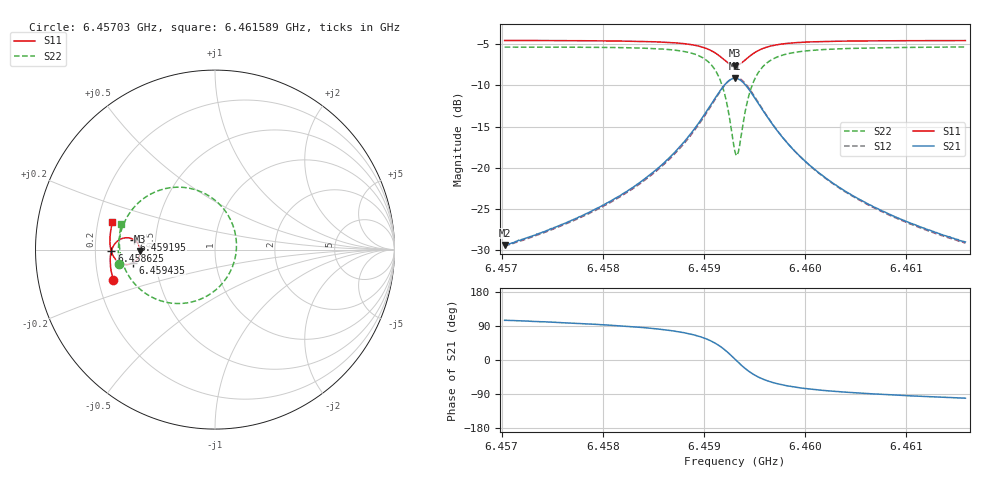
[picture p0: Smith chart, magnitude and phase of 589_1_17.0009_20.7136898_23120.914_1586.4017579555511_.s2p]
#  HZ  S  RI  R  50.00
! Rohde & Schwarz Vector Network Analyzer
! Rohde-Schwarz,ZNB20-2Port,1311601062101988,3.16
! Created: UTC 3/20/2024, 11:18:26 PM
! freq[Hz]  re:S11  im:S11  re:S21  im:S21  re:S12  im:S12  re:S22  im:S22
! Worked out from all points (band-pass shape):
!   401 points, 6.45703 GHz to 6.461589 GHz, reference 50 ohm
!   highest |S21| = -9.14 dB at 6.459309 GHz (marker M1); lowest = -29.4 dB at 6.45703 GHz (marker M2)
!   |S21| within 3 dB of the highest: 6.459082 GHz to 6.459538 GHz (456.1 kHz wide, 0.00706 % of centre)
!   lowest |S11| = -7.6 dB at 6.459309 GHz (marker M3), VSWR 2.43, Z = 20.6 - j0.415 ohm
!   |S11| at or under -10 dB: nowhere
!   |S22| runs from -18.5 to -5.3 dB; largest |S21 - S12| = 0.014
!   S11 on the Smith chart (normalised r, x): 6.45703 GHz: 0.26, -0.14; 6.458625 GHz: 0.27, -0.01; 6.459195 GHz: 0.37, +0.05; 6.459435 GHz: 0.37, -0.07; 6.461589 GHz: 0.26, +0.12
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6.4570296e9  -0.5679 -0.1682  -0.00865 0.0329  -0.00695 0.0328  -0.5338 -0.08
6.4577933e9  -0.5813 -0.1011  -0.00534 0.0509  -0.00274 0.0503  -0.5384 0.0101
6.4582264e9  -0.5839 -0.0574  0.00108 0.0713  0.00436 0.0698  -0.5293 0.0798
6.458557e9  -0.5798 -0.0176  0.0149 0.0997  0.0188 0.0968  -0.5035 0.1557
6.4586254e9  -0.5776 -0.00815  0.0203 0.1082  0.0244 0.1047  -0.4932 0.1757
6.4588192e9  -0.5646 0.0224  0.0473 0.1392  0.0514 0.1341  -0.4426 0.245
6.4589673e9  -0.5417 0.0486  0.0931 0.1699  0.0963 0.1629  -0.3579 0.3095
6.4591041e9  -0.4975 0.066  0.181 0.1859  0.182 0.1786  -0.1968 0.3477
6.4591953e9  -0.4525 0.0553  0.2718 0.1544  0.272 0.1484  -0.0289 0.2962
6.4592637e9  -0.4233 0.023  0.3326 0.0815  0.3347 0.0762  0.0875 0.1647
6.4593093e9  -0.4163 -0.00832  0.3489 0.0129  0.3527 0.00578  0.1196 0.036
6.4593435e9  -0.4204 -0.0323  0.343 -0.0401  0.3469 -0.0494  0.1076 -0.0648
6.4593891e9  -0.4363 -0.0586  0.3139 -0.1005  0.3162 -0.1127  0.0488 -0.1791
6.4594347e9  -0.4585 -0.0751  0.2711 -0.142  0.2703 -0.1554  -0.0378 -0.2545
6.4595259e9  -0.5023 -0.0821  0.1854 -0.1731  0.1791 -0.1848  -0.2091 -0.3004
6.4595942e9  -0.5268 -0.0746  0.1366 -0.1708  0.1284 -0.18  -0.3037 -0.2849
6.459674e9  -0.5466 -0.0613  0.0965 -0.1588  0.0879 -0.165  -0.3787 -0.2496
6.4598336e9  -0.5681 -0.0335  0.0514 -0.1302  0.0436 -0.133  -0.4596 -0.1765
6.460073e9  -0.581 0.00207  0.0222 -0.0982  0.0162 -0.0988  -0.5076 -0.093
6.4604035e9  -0.5854 0.0416  0.00642 -0.0717  0.00223 -0.0714  -0.5286 -0.0156
6.4608367e9  -0.5834 0.0853  -0.00161 -0.0523  -0.0045 -0.0514  -0.533 0.0547
6.461589e9  -0.5713 0.1523  -0.00665 -0.0349  -0.00845 -0.0339  -0.5214 0.1446
